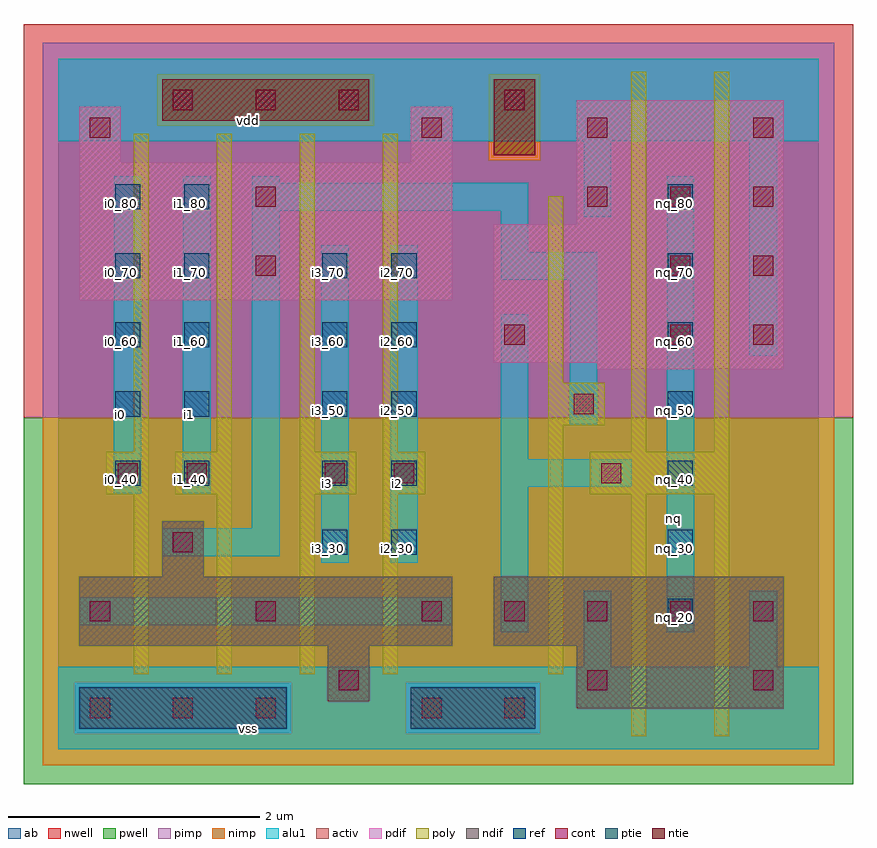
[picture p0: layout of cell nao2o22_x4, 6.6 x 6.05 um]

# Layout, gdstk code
import gdstk
lib = gdstk.Library(unit=1e-6, precision=2.5e-09)
def R(c, l, rs):  # rectangles x0, y0, x1, y1
    for r in rs: c.add(gdstk.rectangle(r[:2], r[2:], *l))
def A(c, l, x, y, w, h, nx, ny, dx, dy):  # array of equal rectangles
    R(c, l, [(x+i*dx, y+j*dy, x+i*dx+w, y+j*dy+h) for i in range(nx) for j in range(ny)])
ndif = (3, 0)
pdif = (4, 0)
ntie = (5, 0)
ptie = (6, 0)
ref = (24, 0)
cont = (25, 0)
pwell = (41, 0)
nwell = (42, 0)
activ = (43, 0)
pimp = (44, 0)
nimp = (45, 0)
poly = (46, 0)
alu1 = (49, 0)
ab = (63, 0)

nao2o22_x4 = lib.new_cell('nao2o22_x4')
R(nao2o22_x4, ndif, [(4.125,0.33,5.775,0.825), (2.145,0.385,2.475,0.825), (0.165,0.825,3.135,1.375), (3.465,0.825,5.775,1.375), (0.825,1.375,1.155,1.815)])
R(nao2o22_x4, pdif, [(4.29,3.025,5.775,3.08), (3.465,3.08,5.775,4.18), (0.165,3.575,3.135,4.675), (4.125,4.18,5.775,5.17), (0.165,4.675,0.495,5.115), (2.805,4.675,3.135,5.115)])
R(nao2o22_x4, ntie, [(3.465,4.73,3.795,5.335), (0.825,5.005,2.475,5.335)])
R(nao2o22_x4, ptie, [(0.165,0.165,1.815,0.495), (2.805,0.165,3.795,0.495)])
A(nao2o22_x4, ref, 4.85, 1, 0.2, 0.2, 1, 7, 0, 0.55)
A(nao2o22_x4, ref, 2.1, 1.55, 0.2, 0.2, 1, 5, 0, 0.55)
A(nao2o22_x4, ref, 2.65, 1.55, 0.2, 0.2, 1, 5, 0, 0.55)
A(nao2o22_x4, ref, 0.45, 2.1, 0.2, 0.2, 1, 5, 0, 0.55)
A(nao2o22_x4, ref, 1, 2.1, 0.2, 0.2, 1, 5, 0, 0.55)
A(nao2o22_x4, cont, 0.25, 0.25, 0.16, 0.16, 3, 1, 0.66, 0)
A(nao2o22_x4, cont, 0.25, 1.02, 0.16, 0.16, 3, 1, 1.32, 0)
A(nao2o22_x4, cont, 3.55, 1.02, 0.16, 0.16, 4, 1, 0.66, 0)
A(nao2o22_x4, cont, 4.21, 4.32, 0.16, 0.16, 3, 1, 0.66, 0)
A(nao2o22_x4, cont, 2.89, 4.87, 0.16, 0.16, 3, 1, 1.32, 0)
A(nao2o22_x4, cont, 0.91, 5.09, 0.16, 0.16, 3, 1, 0.66, 0)
R(nao2o22_x4, cont, [(2.89,0.25,3.05,0.41), (3.55,0.25,3.71,0.41), (2.23,0.47,2.39,0.63), (4.21,0.47,4.37,0.63), (5.53,0.47,5.69,0.63), (0.91,1.57,1.07,1.73), (0.47,2.12,0.63,2.28), (1.02,2.12,1.18,2.28), (2.12,2.12,2.28,2.28), (2.67,2.12,2.83,2.28), (4.32,2.12,4.48,2.28), (4.1,2.67,4.26,2.83), (3.55,3.22,3.71,3.38), (4.87,3.22,5.03,3.38), (5.53,3.22,5.69,3.38), (1.57,3.77,1.73,3.93), (4.87,3.77,5.03,3.93), (5.53,3.77,5.69,3.93), (1.57,4.32,1.73,4.48), (0.25,4.87,0.41,5.03), (3.55,5.09,3.71,5.25)])
R(nao2o22_x4, pwell, [(-0.275,-0.275,6.325,2.64)])
R(nao2o22_x4, nwell, [(-0.275,2.64,6.325,5.775)])
R(nao2o22_x4, activ, [(0.165,0.165,1.815,0.495), (2.805,0.165,3.795,0.495), (4.125,0.33,5.775,0.825), (2.145,0.385,2.475,0.825), (0.165,0.825,3.135,1.375), (3.465,0.825,5.775,1.375), (0.825,1.375,1.155,1.815), (4.29,3.025,5.775,3.08), (3.465,3.08,5.775,4.18), (0.165,3.575,3.135,4.675), (4.125,4.18,5.775,5.17), (0.165,4.675,0.495,5.115), (2.805,4.675,3.135,5.115), (3.465,4.73,3.795,5.335), (0.825,5.005,2.475,5.335)])
R(nao2o22_x4, pimp, [(0.125,0.125,1.855,0.535), (2.765,0.125,3.835,0.535), (-0.125,2.64,6.175,4.69), (-0.125,4.69,3.425,4.965), (3.835,4.69,6.175,5.375), (-0.125,4.965,0.785,5.375), (2.515,4.965,3.425,5.375), (-0.125,5.375,6.175,5.625)])
R(nao2o22_x4, nimp, [(-0.125,-0.125,6.175,0.125), (-0.125,0.125,0.125,0.535), (1.855,0.125,2.765,0.535), (3.835,0.125,6.175,0.535), (-0.125,0.535,6.175,2.64), (3.425,4.69,3.835,5.375), (0.785,4.965,2.515,5.375)])
A(nao2o22_x4, poly, 0.6, 0.6, 0.12, 1.43, 4, 1, 0.66, 0)
A(nao2o22_x4, poly, 0.6, 2.37, 0.12, 2.53, 4, 1, 0.66, 0)
R(nao2o22_x4, poly, [(4.56,0.105,4.68,2.03), (5.22,0.105,5.34,2.03), (3.9,0.6,4.02,2.58), (0.38,2.03,0.72,2.37), (0.93,2.03,1.38,2.37), (1.92,2.03,2.37,2.37), (2.58,2.03,2.92,2.37), (4.23,2.03,5.34,2.37), (4.56,2.37,4.68,5.395), (5.22,2.37,5.34,5.395), (3.9,2.58,4.35,2.92), (3.9,2.92,4.02,4.405)])
R(nao2o22_x4, alu1, [(0,0,6.05,0.66), (4.18,0.66,4.4,1.265), (5.5,0.66,5.72,1.265), (3.52,0.935,3.74,2.09), (4.84,0.935,5.06,4.565), (0.165,0.99,3.135,1.21), (2.09,1.485,2.31,4.015), (2.64,1.485,2.86,4.015), (0.825,1.54,1.76,1.76), (1.54,1.76,1.76,4.29), (0.44,2.035,0.66,4.565), (0.99,2.035,1.21,4.565), (3.52,2.09,4.565,2.31), (3.52,2.31,3.74,3.465), (4.07,2.585,4.29,3.74), (5.5,3.135,5.72,4.84), (3.52,3.74,4.29,3.96), (3.52,3.96,3.74,4.29), (4.18,4.235,4.4,4.84), (1.54,4.29,3.74,4.51), (1.54,4.51,1.76,4.565), (0,4.84,6.05,5.5)])
R(nao2o22_x4, ab, [(0,0,6.05,5.5)])
nao2o22_x4.add(gdstk.Label('vss', (1.5125,0.165), layer=49, texttype=0))
nao2o22_x4.add(gdstk.Label('nq', (4.895,1.8425), layer=49, texttype=0))
nao2o22_x4.add(gdstk.Label('i2', (2.695,2.1175), layer=49, texttype=0))
nao2o22_x4.add(gdstk.Label('i3', (2.145,2.1175), layer=49, texttype=0))
nao2o22_x4.add(gdstk.Label('i1', (1.045,2.6675), layer=49, texttype=0))
nao2o22_x4.add(gdstk.Label('i0', (0.495,2.6675), layer=49, texttype=0))
nao2o22_x4.add(gdstk.Label('vdd', (1.5125,5.005), layer=49, texttype=0))
nao2o22_x4.add(gdstk.Label('nq_50', (4.9,2.7), layer=24, texttype=0))
nao2o22_x4.add(gdstk.Label('nq_30', (4.9,1.6), layer=24, texttype=0))
nao2o22_x4.add(gdstk.Label('nq_20', (4.9,1.05), layer=24, texttype=0))
nao2o22_x4.add(gdstk.Label('nq_40', (4.9,2.15), layer=24, texttype=0))
nao2o22_x4.add(gdstk.Label('nq_60', (4.9,3.25), layer=24, texttype=0))
nao2o22_x4.add(gdstk.Label('nq_70', (4.9,3.8), layer=24, texttype=0))
nao2o22_x4.add(gdstk.Label('i0_40', (0.5,2.15), layer=24, texttype=0))
nao2o22_x4.add(gdstk.Label('i0_50', (0.5,2.7), layer=24, texttype=0))
nao2o22_x4.add(gdstk.Label('i0_60', (0.5,3.25), layer=24, texttype=0))
nao2o22_x4.add(gdstk.Label('i1_60', (1.05,3.25), layer=24, texttype=0))
nao2o22_x4.add(gdstk.Label('i1_50', (1.05,2.7), layer=24, texttype=0))
nao2o22_x4.add(gdstk.Label('i1_40', (1.05,2.15), layer=24, texttype=0))
nao2o22_x4.add(gdstk.Label('i3_30', (2.15,1.6), layer=24, texttype=0))
nao2o22_x4.add(gdstk.Label('i3_40', (2.15,2.15), layer=24, texttype=0))
nao2o22_x4.add(gdstk.Label('i3_50', (2.15,2.7), layer=24, texttype=0))
nao2o22_x4.add(gdstk.Label('i3_60', (2.15,3.25), layer=24, texttype=0))
nao2o22_x4.add(gdstk.Label('i2_60', (2.7,3.25), layer=24, texttype=0))
nao2o22_x4.add(gdstk.Label('i2_50', (2.7,2.7), layer=24, texttype=0))
nao2o22_x4.add(gdstk.Label('i2_40', (2.7,2.15), layer=24, texttype=0))
nao2o22_x4.add(gdstk.Label('i2_30', (2.7,1.6), layer=24, texttype=0))
nao2o22_x4.add(gdstk.Label('nq_80', (4.9,4.35), layer=24, texttype=0))
nao2o22_x4.add(gdstk.Label('i0_70', (0.5,3.8), layer=24, texttype=0))
nao2o22_x4.add(gdstk.Label('i0_80', (0.5,4.35), layer=24, texttype=0))
nao2o22_x4.add(gdstk.Label('i1_80', (1.05,4.35), layer=24, texttype=0))
nao2o22_x4.add(gdstk.Label('i1_70', (1.05,3.8), layer=24, texttype=0))
nao2o22_x4.add(gdstk.Label('i3_70', (2.15,3.8), layer=24, texttype=0))
nao2o22_x4.add(gdstk.Label('i2_70', (2.7,3.8), layer=24, texttype=0))

lib.write_gds('nao2o22_x4.gds')
